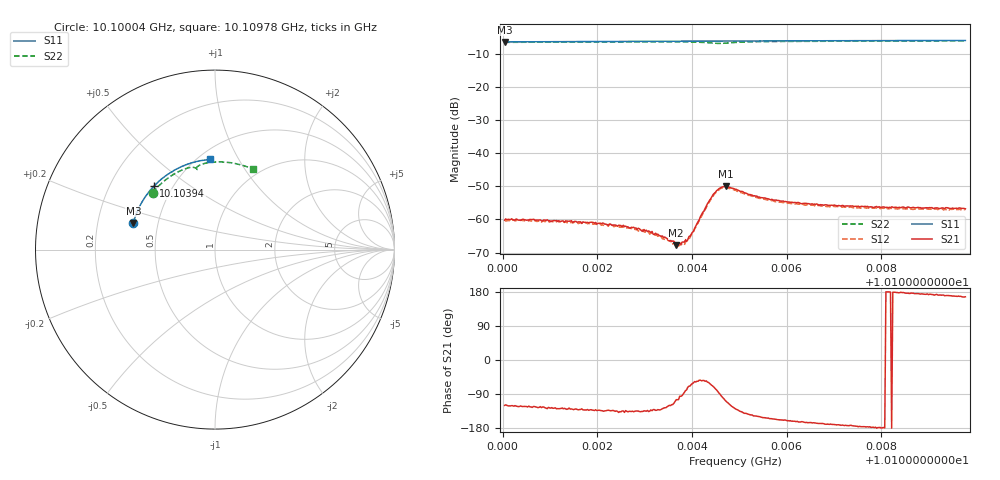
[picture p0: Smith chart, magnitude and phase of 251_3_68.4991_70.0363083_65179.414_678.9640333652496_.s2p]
#  HZ  S  RI  R  50.00
! Rohde & Schwarz Vector Network Analyzer
! Rohde-Schwarz,ZNB20-2Port,1311601062101988,3.16
! Created: UTC 3/20/2024, 4:59:52 PM
! freq[Hz]  re:S11  im:S11  re:S21  im:S21  re:S12  im:S12  re:S22  im:S22
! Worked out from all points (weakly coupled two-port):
!   401 points, 10.10004 GHz to 10.10978 GHz, reference 50 ohm
!   highest |S21| = -50.04 dB at 10.10471 GHz (marker M1); lowest = -67.7 dB at 10.10367 GHz (marker M2)
!   lowest |S11| = -6.4 dB at 10.10004 GHz (marker M3), VSWR 2.84, Z = 18 + j6.92 ohm
!   |S11| at or under -10 dB: nowhere
!   |S22| runs from -6.9 to -6.1 dB; largest |S21 - S12| = 0.00032
!   S11 on the Smith chart (normalised r, x): 10.10004 GHz: 0.36, +0.14; 10.10394 GHz: 0.39, +0.37; 10.10978 GHz: 0.57, +0.77
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1.0100041e10  -0.4551 0.1481  -0.000485 -0.000846  -0.000408 -0.000898  -0.348 0.3178
1.0100626e10  -0.4447 0.1823  -0.000573 -0.000816  -0.000475 -0.000839  -0.323 0.3459
1.0101672e10  -0.4198 0.2409  -0.000544 -0.000678  -0.000535 -0.000714  -0.2723 0.3909
1.0102305e10  -0.4011 0.2744  -0.000565 -0.000592  -0.000528 -0.000622  -0.2384 0.4145
1.0102768e10  -0.3857 0.2981  -0.000554 -0.000526  -0.000475 -0.000543  -0.212 0.4298
1.0103303e10  -0.366 0.3242  -0.000381 -0.000431  -0.000346 -0.000451  -0.1792 0.4453
1.0103668e10  -0.3519 0.341  -0.000104 -0.000396  -7.55e-05 -0.000399  -0.155 0.4538
1.0103717e10  -0.3499 0.3432  -0.000106 -0.000411  -4.5e-05 -0.000393  -0.1515 0.4547
1.010379e10  -0.3471 0.3467  -3.24e-05 -0.000452  5.06e-07 -0.000424  -0.1463 0.456
1.0103887e10  -0.343 0.3509  8.95e-05 -0.000456  0.000167 -0.000451  -0.1392 0.4574
1.0103936e10  -0.341 0.353  0.000195 -0.000516  0.000219 -0.000451  -0.1354 0.4581
1.0104033e10  -0.3369 0.3573  0.000331 -0.000573  0.000389 -0.000538  -0.128 0.4587
1.0104179e10  -0.3306 0.3638  0.00066 -0.000889  0.000706 -0.000766  -0.1164 0.4576
1.0104423e10  -0.3201 0.3737  0.000856 -0.00205  0.00102 -0.00189  -0.1014 0.4482
1.0104569e10  -0.3135 0.3797  0.000161 -0.0029  0.000378 -0.00276  -0.1021 0.4423
1.0104715e10  -0.3071 0.3855  -0.000984 -0.00299  -0.000664 -0.00295  -0.106 0.4461
1.0104909e10  -0.298 0.3932  -0.00177 -0.00226  -0.00148 -0.00233  -0.1015 0.4586
1.010525e10  -0.2819 0.4061  -0.00192 -0.00135  -0.00174 -0.00146  -0.0801 0.4729
1.0105615e10  -0.2639 0.419  -0.00183 -0.000919  -0.00168 -0.00101  -0.0549 0.4809
1.010654e10  -0.2161 0.4481  -0.00167 -0.000414  -0.00155 -0.000554  0.00693 0.4883
1.0108171e10  -0.1247 0.485  -0.00153 6.44e-06  -0.00145 -0.00013  0.1117 0.4798
1.0109777e10  -0.0291 0.5023  -0.00141 0.000332  -0.0014 0.000146  0.2093 0.4493
